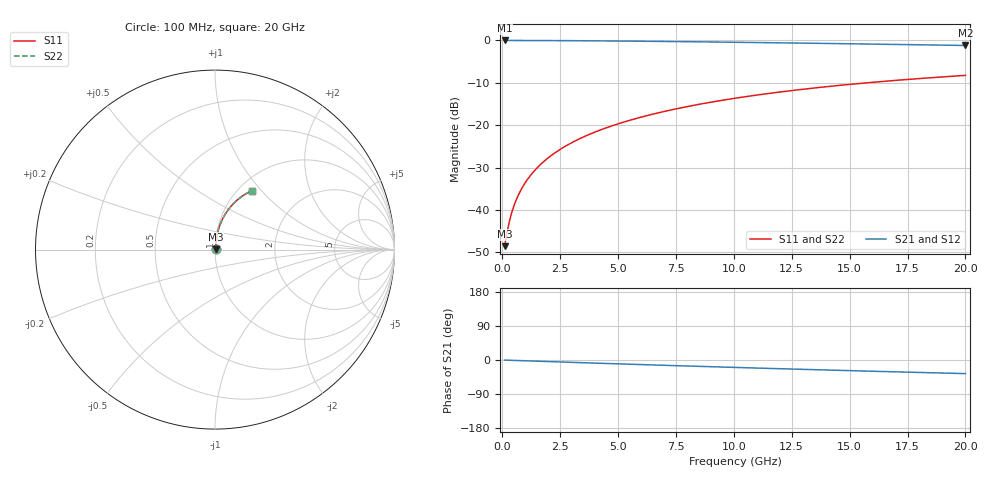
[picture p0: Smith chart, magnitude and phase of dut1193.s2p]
! Touchstone file exported from HFSS 2024.1.0
!  File:  C:/UserFiles/LocalFiles/RDL_TSV_Batchsim/temp_RDL_bottom_1193_1780057715.aedt
!  Generated:  08:30:56 PM May 29, 2026
!  Design:  RDL_bottom
!  Project:  temp_RDL_bottom_1193_1780057715
!  Setup:  Setup1
!  Solution:  Sweep
! Variables:
!  dtsv = 10.80580581um
!  hbump = 3um
!  htsv = 81.38um
!  ldown = 469.76um
!  lrdl = 100um
!  p = 40
!  p1 = 47.95um
!  rhole = 1um
!  t = 450um
!  tdown = 3.64um
!  trdl = 3.915915916um
!  wdown = 15.68um
!  wrdl = 20um
# GHz S MA R 50.000000
! Terminal data exported
! Port[1] = RDL1_T1
! Port[2] = RDL1_T2
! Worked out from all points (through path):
!   200 points, 100 MHz to 20 GHz, reference 50 ohm
!   highest |S21| = -0.03 dB at 100 MHz (marker M1); lowest = -1.2 dB at 20 GHz (marker M2)
!   group delay of S21, straight-line fit = 4.97 ps
!   lowest |S11| = -48.5 dB at 100 MHz (marker M3), VSWR 1.01, Z = 50.3 + j0.22 ohm
!   |S11| at or under -10 dB: start of sweep to 15.77 GHz
!   |S22| runs from -48.5 to -8.3 dB; largest |S21 - S12| = 2.1e-15
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0.1  0.003749 35.6  0.997 -0.2  0.997 -0.2  0.003749 35.6
! Gamma 0 0 0 0
! Port Impedance 50 0 50 0
0.2  0.005351 54.2  0.9969 -0.4  0.9969 -0.4  0.005351 54.2
0.3  0.00722 63.3  0.9967 -0.6  0.9967 -0.6  0.00722 63.3
0.4  0.009167 68.5  0.9966 -0.9  0.9966 -0.9  0.009167 68.5
0.5  0.01114 71.8  0.9965 -1.1  0.9965 -1.1  0.01114 71.8
0.6  0.01313 74.1  0.9964 -1.3  0.9964 -1.3  0.01313 74.1
0.8  0.01713 77.2  0.9961 -1.7  0.9961 -1.7  0.01713 77.2
1.1  0.02319 79.7  0.9957 -2.3  0.9957 -2.3  0.02319 79.7
1.5  0.03133 81.4  0.995 -3.1  0.995 -3.1  0.03133 81.4
1.8  0.03747 82.0  0.9943 -3.8  0.9943 -3.8  0.03747 82.0
2.1  0.04363 82.4  0.9936 -4.4  0.9936 -4.4  0.04363 82.4
2.7  0.056 82.5  0.9919 -5.6  0.9919 -5.6  0.056 82.5
3.5  0.07255 82.2  0.989 -7.2  0.989 -7.2  0.07255 82.2
4.2  0.08707 81.7  0.986 -8.6  0.986 -8.6  0.08707 81.7
5  0.1037 80.9  0.9821 -10.2  0.9821 -10.2  0.1037 80.9
5.9  0.1224 79.8  0.9771 -12.0  0.9771 -12.0  0.1224 79.8
6.8  0.1411 78.6  0.9717 -13.7  0.9717 -13.7  0.1411 78.6
8.4  0.1742 76.3  0.9613 -16.7  0.9613 -16.7  0.1742 76.3
10.1  0.2087 73.7  0.9492 -19.7  0.9492 -19.7  0.2087 73.7
13.4  0.273 68.4  0.9241 -25.4  0.9241 -25.4  0.273 68.4
16.7  0.3325 63.1  0.8974 -30.8  0.8974 -30.8  0.3325 63.1
20  0.3862 58.1  0.8701 -35.9  0.8701 -35.9  0.3862 58.1
